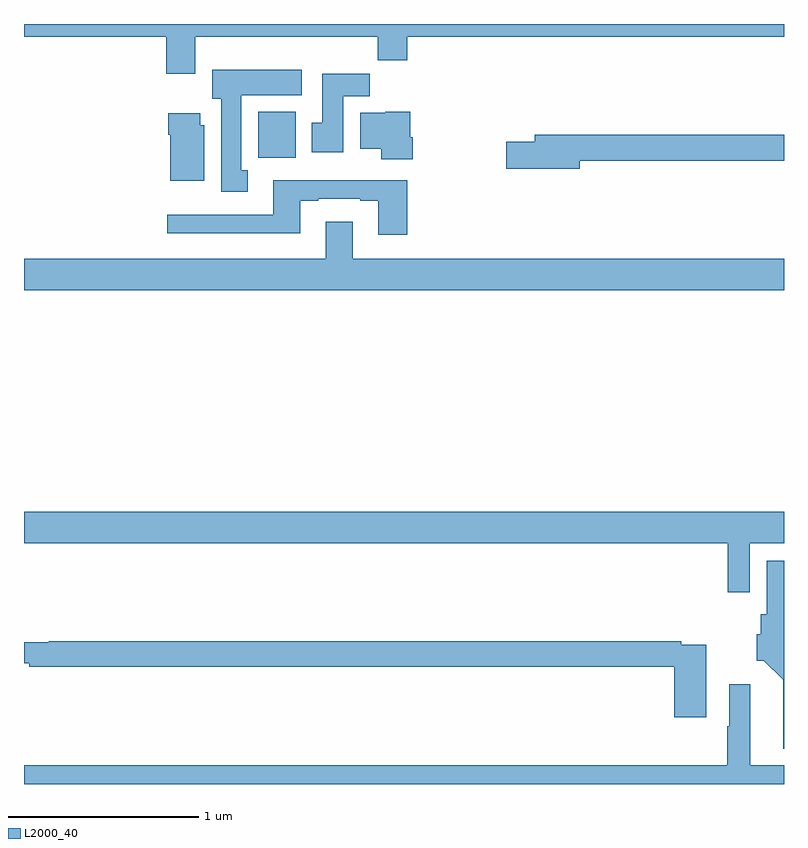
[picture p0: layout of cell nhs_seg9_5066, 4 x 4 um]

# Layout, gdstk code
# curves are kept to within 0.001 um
import gdstk
lib = gdstk.Library(unit=1e-6, precision=1e-09)
def R(c, l, rs):  # rectangles x0, y0, x1, y1
    for r in rs: c.add(gdstk.rectangle(r[:2], r[2:], *l))
def P(c, l, *ps):  # polygons
    for p in ps: c.add(gdstk.Polygon(p, *l))
L2000_40 = (2000, 40)

nhs_seg9_5066 = lib.new_cell('nhs_seg9_5066')
R(nhs_seg9_5066, L2000_40, [(406.232,1183.796,406.429,1184.038)])
P(nhs_seg9_5066, L2000_40, [(405.901,1184.432),(406.861,1184.432),(406.861,1184.308),(407.018,1184.308),(407.018,1184.432),(409,1184.432),(409,1184.5),(405,1184.5),(405,1184.432),(405.749,1184.432),(405.749,1184.238),(405.901,1184.238)],
  [(406.177,1183.73),(406.144,1183.73),(406.144,1184.126),(406.462,1184.126),(406.462,1184.26),(405.992,1184.26),(405.992,1184.106),(406.037,1184.106),(406.037,1183.617),(406.177,1183.617)],
  [(406.681,1184.12),(406.82,1184.12),(406.82,1184.239),(406.571,1184.239),(406.571,1183.98),(406.514,1183.98),(406.514,1183.824),(406.681,1183.824)],
  [(407.046,1183.905),(407.033,1183.905),(407.033,1184.038),(406.902,1184.038),(406.902,1184.032),(406.769,1184.032),(406.769,1183.844),(406.88,1183.844),(406.88,1183.787),(407.046,1183.787)],
  [(405.949,1183.968),(405.928,1183.968),(405.928,1184.029),(405.758,1184.029),(405.758,1183.916),(405.77,1183.916),(405.77,1183.676),(405.949,1183.676)],
  [(407.926,1183.78),(409,1183.78),(409,1183.916),(407.687,1183.916),(407.687,1183.88),(407.538,1183.88),(407.538,1183.738),(407.926,1183.738)],
  [(407.018,1183.678),(406.313,1183.678),(406.313,1183.497),(405.753,1183.497),(405.753,1183.4),(406.453,1183.4),(406.453,1183.569),(406.549,1183.569),(406.549,1183.581),(406.769,1183.581),(406.769,1183.569),(406.865,1183.569),(406.865,1183.392),(407.018,1183.392)],
  [(409,1183.264),(406.729,1183.264),(406.729,1183.459),(406.589,1183.459),(406.589,1183.264),(405,1183.264),(405,1183.1),(409,1183.1)],
  [(408.819,1181.768),(409,1181.768),(409,1181.932),(405,1181.932),(405,1181.768),(408.703,1181.768),(408.703,1181.508),(408.819,1181.508)],
  [(409,1181.674),(408.908,1181.674),(408.908,1181.394),(408.878,1181.394),(408.878,1181.289),(408.857,1181.289),(408.857,1181.15),(408.894,1181.15),(408.996,1181.048),(408.995,1180.685),(409,1180.685)],
  [(408.592,1181.232),(408.458,1181.232),(408.458,1181.252),(405.13,1181.252),(405.13,1181.245),(405,1181.245),(405,1181.135),(405.028,1181.135),(405.028,1181.116),(408.422,1181.116),(408.422,1180.851),(408.592,1180.851)],
  [(409,1180.6),(408.823,1180.6),(408.823,1181.026),(408.713,1181.026),(408.713,1180.805),(408.701,1180.805),(408.701,1180.6),(405,1180.6),(405,1180.5),(409,1180.5)])

lib.write_gds('nhs_seg9_5066.gds')
